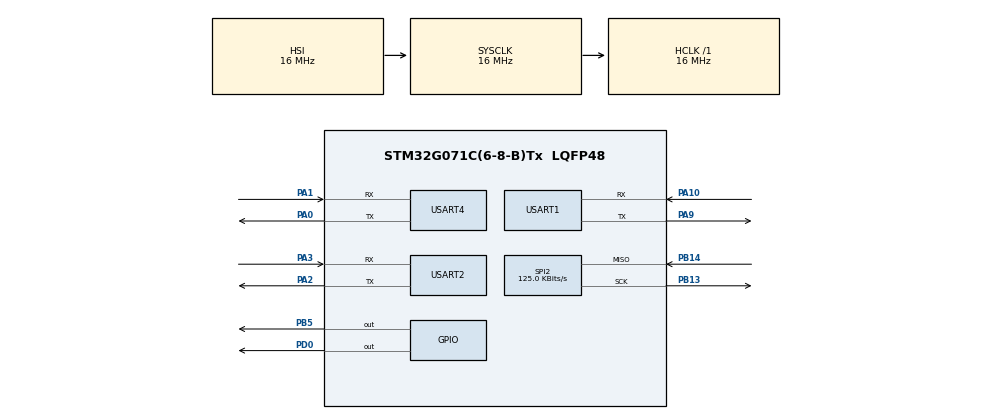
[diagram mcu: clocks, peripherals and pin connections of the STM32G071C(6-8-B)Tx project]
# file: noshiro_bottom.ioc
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Mcu.Family=STM32G0
Mcu.Name=STM32G071C(6-8-B)Tx
Mcu.Package=LQFP48
NVIC.FLASH_IRQn=true\:0\:0\:false\:false\:true\:true\:true\:true
NVIC.RCC_IRQn=true\:0\:0\:false\:false\:true\:true\:false\:true
NVIC.TIM6_DAC_LPTIM1_IRQn=true\:3\:0\:false\:false\:true\:false\:true\:true
NVIC.TimeBase=TIM6_DAC_LPTIM1_IRQn
NVIC.TimeBaseIP=TIM6
NVIC.USART1_IRQn=true\:0\:0\:false\:false\:true\:true\:true\:true
NVIC.USART2_IRQn=true\:0\:0\:false\:false\:true\:true\:true\:true
NVIC.USART3_4_LPUART1_IRQn=true\:0\:0\:false\:false\:true\:true\:true\:true
PA0.Mode=Asynchronous
PA0.Signal=USART4_TX
PA1.Mode=Asynchronous
PA1.Signal=USART4_RX
PA10.Mode=Asynchronous
PA10.Signal=USART1_RX
PA13.Mode=Serial_Wire
PA13.Signal=SYS_SWDIO
PA14-BOOT0.Mode=Serial_Wire
PA14-BOOT0.Signal=SYS_SWCLK
PA2.Mode=Asynchronous
PA2.Signal=USART2_TX
PA3.Mode=Asynchronous
PA3.Signal=USART2_RX
PA9.Mode=Asynchronous
PA9.Signal=USART1_TX
PB13.Mode=RX_Only_Simplex_Unidirect_Master
PB13.Signal=SPI2_SCK
PB14.Mode=RX_Only_Simplex_Unidirect_Master
PB14.Signal=SPI2_MISO
PB5.Signal=GPIO_Output
PD0.GPIO_PuPd=GPIO_NOPULL
PD0.PinState=GPIO_PIN_SET
PD0.Signal=GPIO_Output
ProjectManager.HeapSize=0x200
ProjectManager.StackSize=0x400
ProjectManager.TargetToolchain=STM32CubeIDE
RCC.AHBFreq_Value=16000000
RCC.CortexFreq_Value=16000000
RCC.EXTERNAL_CLOCK_VALUE=48000
RCC.HCLKFreq_Value=16000000
RCC.HSE_VALUE=8000000
RCC.HSI_VALUE=16000000
RCC.LSE_VALUE=32768
RCC.SYSCLKFreq_VALUE=16000000
RCC.VCOOutputFreq_Value=128000000
SPI2.BaudRatePrescaler=SPI_BAUDRATEPRESCALER_128
SPI2.CLKPolarity=SPI_POLARITY_HIGH
SPI2.CalculateBaudRate=125.0 KBits/s
SPI2.DataSize=SPI_DATASIZE_16BIT
SPI2.Direction=SPI_DIRECTION_2LINES_RXONLY
SPI2.Mode=SPI_MODE_MASTER
SPI2.VirtualType=VM_MASTER
USART1.VirtualMode-Asynchronous=VM_ASYNC
USART2.VirtualMode-Asynchronous=VM_ASYNC
USART4.VirtualMode-Asynchronous=VM_ASYNC
VP_SYS_VS_DBSignals.Mode=DisableDeadBatterySignals
VP_SYS_VS_tim6.Mode=TIM6
board=custom

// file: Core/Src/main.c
/* USER CODE BEGIN Header */
/**
  ******************************************************************************
  * @file           : main.c
  * @brief          : Main program body
  ******************************************************************************
  * @attention
  *
  * Copyright (c) 2024 STMicroelectronics.
  * All rights reserved.
  *
  * This software is licensed under terms that can be found in the LICENSE file
  * in the root directory of this software component.
  * If no LICENSE file comes with this software, it is provided AS-IS.
  *
  ******************************************************************************
  */
/* USER CODE END Header */
#include "main.h"

/* USER CODE BEGIN Includes */
#include <stdio.h>
#include "ltc2460.h"
#include "string.h"
/* USER CODE END Includes */

SPI_HandleTypeDef hspi2;

UART_HandleTypeDef huart1;
UART_HandleTypeDef huart2;
UART_HandleTypeDef huart4;

/* USER CODE BEGIN PV */
typedef enum{
	VALVE,
	MAIN1,
	MAIN2,
	MAIN3,
	GROUND
} SEND_TO;

#define TX_BUFF_SIZE_MAIN3 10
#define TX_BUFF_SIZE_VALVE 1
#define RX_BUFF_SIZE_MAIN3 8
#define RX_BUFF_SIZE_VALVE 26
#define ADDRESS 2024   // inspire from this year

uint8_t rx_Buff_3[RX_BUFF_SIZE_MAIN3];   // receive from main3
uint8_t rx_Buff_V[RX_BUFF_SIZE_VALVE];   // receive from valve

uint8_t tx_Buff_3[TX_BUFF_SIZE_MAIN3];   // send to main3
uint8_t tx_Buff_V[TX_BUFF_SIZE_VALVE];   // send to valve

uint8_t rx_Buff_PC[1];   // receive from PC

int valid_valve_com = 0;
uint8_t command;
uint8_t Buff_size;
uint8_t count;   // adjustment of downlink rate
uint8_t ck_a_rx3, ck_b_rx3;   // for checksum
uint8_t ck_a_rxV, ck_b_rxV;   // for checksum
uint8_t ck_a_tx3, ck_b_tx3;   // for checksum
uint8_t ck_a_txV, ck_b_txV;   // for checksum
int flag;   // use as bool function. True:1, False:0
uint8_t PHASE;   // for phase
uint8_t TankPressure;   // for tank pressure
SEND_TO sendto, sendfrom, wantto;
uint8_t voltage_send;
int valve_received = 0;
/* USER CODE END PV */

void SystemClock_Config(void);
static void MX_GPIO_Init(void);
static void MX_SPI2_Init(void);
static void MX_USART1_UART_Init(void);
static void MX_USART2_UART_Init(void);
static void MX_USART4_UART_Init(void);
/* USER CODE BEGIN PFP */
void send_MAIN3(uint8_t *tx_Buff);
void send_VALVE(uint8_t *tx_Buff, uint8_t com);
void calculateChecksum(uint8_t *Buff, uint8_t Buff_size, uint8_t *ck_a, uint8_t *ck_b);  // for checksum
int checkUART(uint8_t *rx_Buff, uint8_t *ck_a, uint8_t *ck_b);   // if True, it adjusts Buff_size, PHASE
/* USER CODE END PFP */

/* USER CODE BEGIN 0 */
LTC2460_HandleTypeDef ltc2460;
/* USER CODE END 0 */

int main(void)
{

  /* USER CODE BEGIN 1 */
	setbuf(stdout, NULL);
	ltc2460.speed = 0;
	ltc2460.spi = &hspi2;
	ltc2460.miso = GPIOB;
	ltc2460.ss = GPIOD;
	ltc2460.miso_num = GPIO_PIN_14;
	ltc2460.ss_num = GPIO_PIN_0;
	ltc2460.receive_only = 1;
  /* USER CODE END 1 */

  /* MCU Configuration--------------------------------------------------------*/

  /* Reset of all peripherals, Initializes the Flash interface and the Systick. */
  HAL_Init();

  /* Configure the system clock */
  SystemClock_Config();

  /* USER CODE BEGIN SysInit */
  SCB->VTOR = FLASH_BASE;
  /* USER CODE END SysInit */

  /* Initialize all configured peripherals */
  MX_GPIO_Init();
  MX_SPI2_Init();
  MX_USART1_UART_Init();
  MX_USART2_UART_Init();
  MX_USART4_UART_Init();
  /* USER CODE BEGIN 2 */
  HAL_GPIO_WritePin(GPIOB, GPIO_PIN_5, GPIO_PIN_SET);

  HAL_UART_Receive_IT(&huart1, rx_Buff_V, 1);

  HAL_UART_Receive_IT(&huart2, rx_Buff_3, RX_BUFF_SIZE_MAIN3);

  HAL_UART_Receive_IT(&huart4, rx_Buff_PC, 1);

  PHASE = 255;
  TankPressure = 255;
  /* USER CODE END 2 */

  /* Infinite loop */
  /* USER CODE BEGIN WHILE */
  while (1)
  {
    uint16_t voltage;

    LTC2460_READ(&ltc2460, &voltage);
    /// 　計算上は109
    ///   実測で130
    int voltage_micro = voltage * 436 - 7138085;
    printf("tick: %d valid_valve_com: %d tank_pressure: %d phase: %d voltage: %d.%06d raw: %d\r\n",HAL_GetTick(),valid_valve_com, TankPressure,PHASE, voltage_micro/1000000, voltage_micro%1000000, voltage);
    voltage_send = voltage_micro / 100000;
	send_MAIN3(tx_Buff_3);
	printf("Voltage_send:%d\r\n", voltage_send);
	HAL_UART_Transmit(&huart2, tx_Buff_3, TX_BUFF_SIZE_MAIN3, 10);

    ///HAL_UART_Transmit(&huart2, tx_Buff_3, TX_BUFF_SIZE_MAIN3, 10);
    HAL_Delay(1000);
    /* USER CODE END WHILE */

  }
}

void SystemClock_Config(void)
{
  RCC_OscInitTypeDef RCC_OscInitStruct = {0};
  RCC_ClkInitTypeDef RCC_ClkInitStruct = {0};

  /** Configure the main internal regulator output voltage
  */
  HAL_PWREx_ControlVoltageScaling(PWR_REGULATOR_VOLTAGE_SCALE1);

  /** Initializes the RCC Oscillators according to the specified parameters
  * in the RCC_OscInitTypeDef structure.
  */
  RCC_OscInitStruct.OscillatorType = RCC_OSCILLATORTYPE_HSI;
  RCC_OscInitStruct.HSIState = RCC_HSI_ON;
  RCC_OscInitStruct.HSIDiv = RCC_HSI_DIV1;
  RCC_OscInitStruct.HSICalibrationValue = RCC_HSICALIBRATION_DEFAULT;
  RCC_OscInitStruct.PLL.PLLState = RCC_PLL_NONE;
  if (HAL_RCC_OscConfig(&RCC_OscInitStruct) != HAL_OK)
  {
    Error_Handler();
  }

  /** Initializes the CPU, AHB and APB buses clocks
  */
  RCC_ClkInitStruct.ClockType = RCC_CLOCKTYPE_HCLK|RCC_CLOCKTYPE_SYSCLK
                              |RCC_CLOCKTYPE_PCLK1;
  RCC_ClkInitStruct.SYSCLKSource = RCC_SYSCLKSOURCE_HSI;
  RCC_ClkInitStruct.AHBCLKDivider = RCC_SYSCLK_DIV1;
  RCC_ClkInitStruct.APB1CLKDivider = RCC_HCLK_DIV1;

  if (HAL_RCC_ClockConfig(&RCC_ClkInitStruct, FLASH_LATENCY_0) != HAL_OK)
  {
    Error_Handler();
  }
}

static void MX_SPI2_Init(void)
{

  /* SPI2 parameter configuration*/
  hspi2.Instance = SPI2;
  hspi2.Init.Mode = SPI_MODE_MASTER;
  hspi2.Init.Direction = SPI_DIRECTION_2LINES_RXONLY;
  hspi2.Init.DataSize = SPI_DATASIZE_16BIT;
  hspi2.Init.CLKPolarity = SPI_POLARITY_HIGH;
  hspi2.Init.CLKPhase = SPI_PHASE_1EDGE;
  hspi2.Init.NSS = SPI_NSS_SOFT;
  hspi2.Init.BaudRatePrescaler = SPI_BAUDRATEPRESCALER_128;
  hspi2.Init.FirstBit = SPI_FIRSTBIT_MSB;
  hspi2.Init.TIMode = SPI_TIMODE_DISABLE;
  hspi2.Init.CRCCalculation = SPI_CRCCALCULATION_DISABLE;
  hspi2.Init.CRCPolynomial = 7;
  hspi2.Init.CRCLength = SPI_CRC_LENGTH_DATASIZE;
  hspi2.Init.NSSPMode = SPI_NSS_PULSE_ENABLE;
  if (HAL_SPI_Init(&hspi2) != HAL_OK)
  {
    Error_Handler();
  }

}

static void MX_USART1_UART_Init(void)
{

  huart1.Instance = USART1;
  huart1.Init.BaudRate = 115200;
  huart1.Init.WordLength = UART_WORDLENGTH_8B;
  huart1.Init.StopBits = UART_STOPBITS_1;
  huart1.Init.Parity = UART_PARITY_NONE;
  huart1.Init.Mode = UART_MODE_TX_RX;
  huart1.Init.HwFlowCtl = UART_HWCONTROL_NONE;
  huart1.Init.OverSampling = UART_OVERSAMPLING_16;
  huart1.Init.OneBitSampling = UART_ONE_BIT_SAMPLE_DISABLE;
  huart1.Init.ClockPrescaler = UART_PRESCALER_DIV1;
  huart1.AdvancedInit.AdvFeatureInit = UART_ADVFEATURE_NO_INIT;
  if (HAL_UART_Init(&huart1) != HAL_OK)
  {
    Error_Handler();
  }
  if (HAL_UARTEx_SetTxFifoThreshold(&huart1, UART_TXFIFO_THRESHOLD_1_8) != HAL_OK)
  {
    Error_Handler();
  }
  if (HAL_UARTEx_SetRxFifoThreshold(&huart1, UART_RXFIFO_THRESHOLD_1_8) != HAL_OK)
  {
    Error_Handler();
  }
  if (HAL_UARTEx_DisableFifoMode(&huart1) != HAL_OK)
  {
    Error_Handler();
  }

}

static void MX_USART2_UART_Init(void)
{

  huart2.Instance = USART2;
  huart2.Init.BaudRate = 115200;
  huart2.Init.WordLength = UART_WORDLENGTH_8B;
  huart2.Init.StopBits = UART_STOPBITS_1;
  huart2.Init.Parity = UART_PARITY_NONE;
  huart2.Init.Mode = UART_MODE_TX_RX;
  huart2.Init.HwFlowCtl = UART_HWCONTROL_NONE;
  huart2.Init.OverSampling = UART_OVERSAMPLING_16;
  huart2.Init.OneBitSampling = UART_ONE_BIT_SAMPLE_DISABLE;
  huart2.Init.ClockPrescaler = UART_PRESCALER_DIV1;
  huart2.AdvancedInit.AdvFeatureInit = UART_ADVFEATURE_NO_INIT;
  if (HAL_UART_Init(&huart2) != HAL_OK)
  {
    Error_Handler();
  }
  if (HAL_UARTEx_SetTxFifoThreshold(&huart2, UART_TXFIFO_THRESHOLD_1_8) != HAL_OK)
  {
    Error_Handler();
  }
  if (HAL_UARTEx_SetRxFifoThreshold(&huart2, UART_RXFIFO_THRESHOLD_1_8) != HAL_OK)
  {
    Error_Handler();
  }
  if (HAL_UARTEx_DisableFifoMode(&huart2) != HAL_OK)
  {
    Error_Handler();
  }

}

static void MX_USART4_UART_Init(void)
{

  huart4.Instance = USART4;
  huart4.Init.BaudRate = 115200;
  huart4.Init.WordLength = UART_WORDLENGTH_8B;
  huart4.Init.StopBits = UART_STOPBITS_1;
  huart4.Init.Parity = UART_PARITY_NONE;
  huart4.Init.Mode = UART_MODE_TX_RX;
  huart4.Init.HwFlowCtl = UART_HWCONTROL_NONE;
  huart4.Init.OverSampling = UART_OVERSAMPLING_16;
  huart4.Init.OneBitSampling = UART_ONE_BIT_SAMPLE_DISABLE;
  huart4.Init.ClockPrescaler = UART_PRESCALER_DIV1;
  huart4.AdvancedInit.AdvFeatureInit = UART_ADVFEATURE_NO_INIT;
  if (HAL_UART_Init(&huart4) != HAL_OK)
  {
    Error_Handler();
  }

}

static void MX_GPIO_Init(void)
{
  GPIO_InitTypeDef GPIO_InitStruct = {0};

  /* GPIO Ports Clock Enable */
  __HAL_RCC_GPIOA_CLK_ENABLE();
  __HAL_RCC_GPIOB_CLK_ENABLE();
  __HAL_RCC_GPIOD_CLK_ENABLE();

  /*Configure GPIO pin Output Level */
  HAL_GPIO_WritePin(GPIOD, GPIO_PIN_0, GPIO_PIN_SET);

  /*Configure GPIO pin Output Level */
  HAL_GPIO_WritePin(GPIOB, GPIO_PIN_5, GPIO_PIN_RESET);

  /*Configure GPIO pin : PD0 */
  GPIO_InitStruct.Pin = GPIO_PIN_0;
  GPIO_InitStruct.Mode = GPIO_MODE_OUTPUT_PP;
  GPIO_InitStruct.Pull = GPIO_NOPULL;
  GPIO_InitStruct.Speed = GPIO_SPEED_FREQ_LOW;
  HAL_GPIO_Init(GPIOD, &GPIO_InitStruct);

  /*Configure GPIO pin : PB5 */
  GPIO_InitStruct.Pin = GPIO_PIN_5;
  GPIO_InitStruct.Mode = GPIO_MODE_OUTPUT_PP;
  GPIO_InitStruct.Pull = GPIO_NOPULL;
  GPIO_InitStruct.Speed = GPIO_SPEED_FREQ_LOW;
  HAL_GPIO_Init(GPIOB, &GPIO_InitStruct);

}

/* USER CODE BEGIN 4 */
int _write(int file, char *ptr, int len)
{
  HAL_UART_Transmit(&huart4,(uint8_t *)ptr,len,10);
  return len;
}

void calculateChecksum(uint8_t *Buff, uint8_t Buff_size, uint8_t *ck_a, uint8_t *ck_b){
	*ck_a = 0;
    *ck_b = 0;

    for (int i = 0; i < (Buff_size - 2); i++) {
        *ck_a = (*ck_a + Buff[i]) & 0xFF;
        *ck_b = (*ck_b + *ck_a) & 0xFF;
    }
	printf("ck_a : %d\r\n", *ck_a);
	printf("ck_b : %d\r\n", *ck_b);
}

int checkUART(uint8_t *rx_Buff, uint8_t *ck_a, uint8_t *ck_b){
  int flag = 0;
	if (((rx_Buff[0] << 8) | (rx_Buff[1])) == ADDRESS || rx_Buff[2] == 2){
        Buff_size = rx_Buff[4];
		calculateChecksum(rx_Buff, Buff_size, ck_a, ck_b);

		if (*ck_a == rx_Buff[Buff_size-2] || *ck_b == rx_Buff[Buff_size-1]){
			flag = 1;
		}else{
			flag = 0;
		}

	}else{
		flag = 0;
	}
  return flag;
}

void HAL_UART_RxCpltCallback(UART_HandleTypeDef *huart)
{
  //Valve
	if (huart->Instance == USART1)
	{
    printf("Received from Valve\r\n");
    if(!valid_valve_com){
    	if(rx_Buff_V[0] == 0x24)
    	    {
    		HAL_UART_Receive_IT(&huart1, &rx_Buff_V[1], RX_BUFF_SIZE_VALVE - 1);
    		valid_valve_com = 1;
    		return;
    	    }else{
    	    	  MX_USART1_UART_Init();
				  memset(rx_Buff_V, 0, RX_BUFF_SIZE_VALVE);
				  HAL_UART_Receive_IT(&huart1, rx_Buff_V, 1);
				  return;
    	    }
    }else
    {
    	TankPressure = rx_Buff_V[1];
    	PHASE = rx_Buff_V[4];
    	valve_received = 1;
    	printf("TP:%d\r\nPHASE:%d\r\n", TankPressure, PHASE);
    }
      valid_valve_com = 0;
	  flag = 0;
	  MX_USART1_UART_Init();
	  memset(rx_Buff_V, 0, RX_BUFF_SIZE_VALVE);
	  HAL_UART_Receive_IT(&huart1, rx_Buff_V, 1);
	}
  // Main3
	if (huart->Instance == USART2)
	{
	  printf("Received from Main3 %d\r\n", rx_Buff_3[5]);
	  if(checkUART(rx_Buff_3, &ck_a_rx3, &ck_b_rx3))
	  {
	    if(rx_Buff_3[3] == MAIN1)
	    {
	      command = rx_Buff_3[5];
	    }else if(rx_Buff_3[3] == VALVE)
	    {
	      HAL_UART_Transmit(&huart1, &rx_Buff_3[5], 1, 10);
	      printf("SendToValve:%c\r\n", rx_Buff_3[5]);
	    }
	  }
	  flag = 0;
		MX_USART2_UART_Init();
		memset(rx_Buff_3, 0, RX_BUFF_SIZE_MAIN3);
		HAL_UART_Receive_IT(&huart2, rx_Buff_3, RX_BUFF_SIZE_MAIN3);
	}
  // PC
	if (huart->Instance == USART4)
	{
	  printf("Receive from PC:");

	  printf("%d", rx_Buff_PC[0]);
	  tx_Buff_V[0] = rx_Buff_PC[0];
	  printf("\r\n");
	    for(int i = 0; i < TX_BUFF_SIZE_VALVE; i++)
        {
          printf("%#x", tx_Buff_V[i]);
        }
	    printf("\r\n");
	  HAL_UART_Transmit(&huart1, tx_Buff_V, TX_BUFF_SIZE_VALVE, 10);
	  HAL_UART_Receive_IT(&huart4, rx_Buff_PC, 1);
	}
}

void send_VALVE(uint8_t *tx_Buff, uint8_t com){
    sendto = VALVE;
    sendfrom = MAIN1;

	tx_Buff[0] = (ADDRESS >> 8) & 0xFF;
	tx_Buff[1] = ADDRESS & 0xFF;
	tx_Buff[2] = sendto;
	tx_Buff[3] = sendfrom;
	tx_Buff[4] = TX_BUFF_SIZE_VALVE;
    tx_Buff[5] = com;

	calculateChecksum(tx_Buff, TX_BUFF_SIZE_VALVE, &ck_a_tx3, &ck_b_tx3);
	tx_Buff[TX_BUFF_SIZE_VALVE - 2] = ck_a_tx3;
	tx_Buff[TX_BUFF_SIZE_VALVE - 1] = ck_b_tx3;
}

void send_MAIN3(uint8_t *tx_Buff){
	sendto = MAIN3;
	sendfrom = MAIN1;

    tx_Buff[0] = (ADDRESS >> 8) & 0xFF;
    tx_Buff[1] = ADDRESS & 0xFF;
    tx_Buff[2] = sendto;
    tx_Buff[3] = sendfrom;
    tx_Buff[4] = TX_BUFF_SIZE_MAIN3;
    tx_Buff[5] = voltage_send;
    tx_Buff[6] = PHASE;
    tx_Buff[7] = TankPressure;

    calculateChecksum(tx_Buff, TX_BUFF_SIZE_MAIN3, &ck_a_tx3, &ck_b_tx3);
    tx_Buff[TX_BUFF_SIZE_MAIN3 - 2] = ck_a_tx3;
    tx_Buff[TX_BUFF_SIZE_MAIN3 - 1] = ck_b_tx3;
}
/* USER CODE END 4 */

void HAL_TIM_PeriodElapsedCallback(TIM_HandleTypeDef *htim)
{
  if (htim->Instance == TIM6) {
    HAL_IncTick();
  }
}

void Error_Handler(void)
{
  /* USER CODE BEGIN Error_Handler_Debug */
	NVIC_SystemReset();
  /* User can add his own implementation to report the HAL error return state */
  __disable_irq();
  while (1)
  {
  }
  /* USER CODE END Error_Handler_Debug */
}
